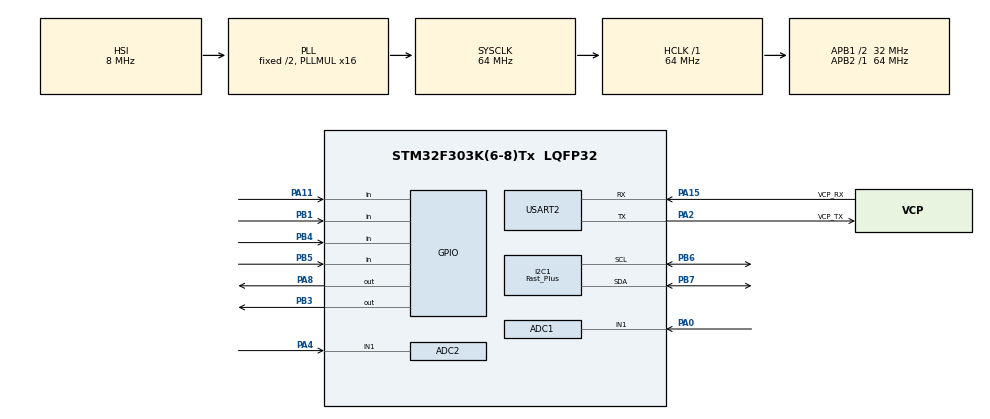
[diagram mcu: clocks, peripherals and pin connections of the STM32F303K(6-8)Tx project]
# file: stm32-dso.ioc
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ADC1.Channel-0\#ChannelRegularConversion=ADC_CHANNEL_1
ADC1.ClockPrescaler=ADC_CLOCK_SYNC_PCLK_DIV2
ADC1.ContinuousConvMode=ENABLE
ADC1.DMAContinuousRequests=ENABLE
ADC1.NbrOfConversionFlag=1
ADC1.Offset-0\#ChannelRegularConversion=0
ADC1.OffsetNumber-0\#ChannelRegularConversion=ADC_OFFSET_NONE
ADC1.Rank-0\#ChannelRegularConversion=1
ADC1.Resolution=ADC_RESOLUTION_12B
ADC1.SamplingTime-0\#ChannelRegularConversion=ADC_SAMPLETIME_1CYCLE_5
ADC1.SubFamily=STM32F303x8
ADC1.master=1
ADC2.Channel-0\#ChannelRegularConversion=ADC_CHANNEL_1
ADC2.ClockPrescaler=ADC_CLOCK_SYNC_PCLK_DIV2
ADC2.ContinuousConvMode=ENABLE
ADC2.NbrOfConversionFlag=1
ADC2.Offset-0\#ChannelRegularConversion=0
ADC2.OffsetNumber-0\#ChannelRegularConversion=ADC_OFFSET_NONE
ADC2.Rank-0\#ChannelRegularConversion=1
ADC2.SamplingTime-0\#ChannelRegularConversion=ADC_SAMPLETIME_1CYCLE_5
ADC2.SamplingTimeOPAMP-0\#ChannelRegularConversion=ADC_SAMPLETIME_61CYCLES_5
ADC2.SubFamily=STM32F303x8
Dma.ADC1.0.Direction=DMA_PERIPH_TO_MEMORY
Dma.ADC1.0.Instance=DMA1_Channel1
Dma.ADC1.0.MemDataAlignment=DMA_MDATAALIGN_HALFWORD
Dma.ADC1.0.MemInc=DMA_MINC_ENABLE
Dma.ADC1.0.Mode=DMA_CIRCULAR
Dma.ADC1.0.PeriphDataAlignment=DMA_PDATAALIGN_HALFWORD
Dma.ADC1.0.PeriphInc=DMA_PINC_DISABLE
Dma.ADC1.0.Priority=DMA_PRIORITY_LOW
Dma.Request0=ADC1
I2C1.I2C_Fall_Time=100
I2C1.I2C_Rise_Time=100
I2C1.I2C_Speed_Mode=I2C_Fast_Plus
I2C1.Speed=100
I2C1.Timing=0x0091FFFF
Mcu.Family=STM32F3
Mcu.Name=STM32F303K(6-8)Tx
Mcu.Package=LQFP32
NVIC.DMA1_Channel1_IRQn=true\:0\:0\:false\:false\:true\:false\:true\:true
NVIC.PriorityGroup=NVIC_PRIORITYGROUP_4
PA0.Mode=IN1-Single-Ended
PA0.Signal=ADC1_IN1
PA11.Signal=GPIO_Input
PA13.GPIO_Label=SWDIO
PA13.Mode=Serial_Wire
PA13.Signal=SYS_JTMS-SWDIO
PA14.GPIO_Label=SWCLK
PA14.Mode=Serial_Wire
PA14.Signal=SYS_JTCK-SWCLK
PA15.GPIO_Label=VCP_RX
PA15.Mode=Asynchronous
PA15.Signal=USART2_RX
PA2.GPIO_Label=VCP_TX
PA2.Mode=Asynchronous
PA2.Signal=USART2_TX
PA4.Mode=IN1-Single-Ended
PA4.Signal=ADC2_IN1
PA8.Signal=GPIO_Output
PB1.Signal=GPIO_Input
PB3.Signal=GPIO_Output
PB4.GPIO_PuPd=GPIO_NOPULL
PB4.Signal=GPIO_Input
PB5.GPIO_PuPd=GPIO_NOPULL
PB5.Signal=GPIO_Input
PB6.GPIO_Pu=GPIO_PULLUP
PB6.Mode=I2C
PB6.Signal=I2C1_SCL
PB7.GPIO_Pu=GPIO_PULLUP
PB7.Mode=I2C
PB7.Signal=I2C1_SDA
PF0\ /\ OSC_IN.GPIO_Label=MCO
PF0\ /\ OSC_IN.Mode=HSE-External-Clock-Source
PF0\ /\ OSC_IN.Signal=RCC_OSC_IN
ProjectManager.HeapSize=0x200
ProjectManager.StackSize=0x400
ProjectManager.TargetToolchain=CMake
RCC.AHBFreq_Value=64000000
RCC.APB1CLKDivider=RCC_HCLK_DIV2
RCC.APB1Freq_Value=32000000
RCC.APB1TimFreq_Value=64000000
RCC.APB2Freq_Value=64000000
RCC.APB2TimFreq_Value=64000000
RCC.CortexFreq_Value=64000000
RCC.DATA_CACHE_ENABLE=1
RCC.HCLKFreq_Value=64000000
RCC.HSE_VALUE=8000000
RCC.HSI_VALUE=8000000
RCC.I2c1ClockSelection=RCC_I2C1CLKSOURCE_SYSCLK
RCC.INSTRUCTION_CACHE_ENABLE=1
RCC.MSICalibrationValue=0
RCC.PLLMUL=RCC_PLL_MUL16
RCC.PWR_Regulator_Voltage_Scale=PWR_REGULATOR_VOLTAGE_SCALE1
RCC.SYSCLKFreq_VALUE=64000000
RCC.SYSCLKSourceVirtual=RCC_SYSCLKSOURCE_PLLCLK
USART2.VirtualMode-Asynchronous=VM_ASYNC
board=NUCLEO-F303K8

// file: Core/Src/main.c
/* USER CODE BEGIN Header */
/**
  ******************************************************************************
  * @file           : main.c
  * @brief          : Main program body
  ******************************************************************************
  * @attention
  *
  * Copyright (c) 2025 STMicroelectronics.
  * All rights reserved.
  *
  * This software is licensed under terms that can be found in the LICENSE file
  * in the root directory of this software component.
  * If no LICENSE file comes with this software, it is provided AS-IS.
  *
  ******************************************************************************
  */
/* USER CODE END Header */
#include "main.h"

/* USER CODE BEGIN Includes */
#include "ssd1306.h"
#include "ssd1306_fonts.h"
#include "math.h"
#include <stdio.h>
/* USER CODE END Includes */

/* USER CODE BEGIN PD */
#define GRAPH_HISTORY 4096
/* USER CODE END PD */

ADC_HandleTypeDef hadc1;
ADC_HandleTypeDef hadc2;
DMA_HandleTypeDef hdma_adc1;

I2C_HandleTypeDef hi2c1;

UART_HandleTypeDef huart2;

/* USER CODE BEGIN PV */
uint16_t adc_buffer[GRAPH_HISTORY] = {0};
uint16_t trigger_level = 2048;
volatile uint8_t adc_half_complete = 0;
volatile uint8_t adc_full_complete = 0;
uint8_t running = 1;
uint8_t trigger_mode = 0;
uint8_t triggered = 0;
/* USER CODE END PV */

void SystemClock_Config(void);
static void MX_GPIO_Init(void);
static void MX_DMA_Init(void);
static void MX_USART2_UART_Init(void);
static void MX_I2C1_Init(void);
static void MX_ADC1_Init(void);
static void MX_ADC2_Init(void);

int main(void)
{

  /* MCU Configuration--------------------------------------------------------*/

  /* Reset of all peripherals, Initializes the Flash interface and the Systick. */
  HAL_Init();

  /* Configure the system clock */
  SystemClock_Config();

  /* Initialize all configured peripherals */
  MX_GPIO_Init();
  MX_DMA_Init();
  MX_USART2_UART_Init();
  MX_I2C1_Init();
  MX_ADC1_Init();
  MX_ADC2_Init();
  /* USER CODE BEGIN 2 */
  HAL_ADC_Start_DMA(&hadc1, (uint32_t*)adc_buffer, GRAPH_HISTORY);
  // HAL_OPAMP_Start(&hopamp2);
  HAL_GPIO_WritePin(GPIOB, GPIO_PIN_3, GPIO_PIN_SET);
  ssd1306_Init();
  HAL_Delay(2000);

  char buffer[32]; //character buffer
  uint8_t measure_mode = 0; // 0 vpp, 1 vmax, 2 freq
  /* USER CODE END 2 */

  /* Infinite loop */
  while (1)
  {

    /* USER CODE BEGIN 3 */

    if (HAL_GPIO_ReadPin(GPIOB, GPIO_PIN_4) == GPIO_PIN_RESET) {
      if (running) {
        HAL_ADC_Stop_DMA(&hadc1);
        HAL_GPIO_WritePin(GPIOB, GPIO_PIN_3, GPIO_PIN_RESET);
        running = 0;
        trigger_mode = 0;
      }
    }
    if (HAL_GPIO_ReadPin(GPIOB, GPIO_PIN_5) == GPIO_PIN_RESET) {
      if (!running) {
        HAL_ADC_Start_DMA(&hadc1, (uint32_t*)adc_buffer, GRAPH_HISTORY);
        HAL_GPIO_WritePin(GPIOB, GPIO_PIN_3, GPIO_PIN_SET);
        running = 1;
      }
    }

    if (HAL_GPIO_ReadPin(GPIOA, GPIO_PIN_11) == GPIO_PIN_RESET) {
      trigger_mode = 1;
      triggered = 0;
      if (!running) {
        HAL_ADC_Start_DMA(&hadc1, (uint32_t*)adc_buffer, GRAPH_HISTORY);
        HAL_GPIO_WritePin(GPIOB, GPIO_PIN_3, GPIO_PIN_SET);
      }
    }

    if (HAL_GPIO_ReadPin(GPIOB, GPIO_PIN_1) == GPIO_PIN_RESET) {
      measure_mode = (measure_mode + 1) % 3;
    }

    if (trigger_mode == 1&& !triggered) {
      HAL_GPIO_WritePin(GPIOA, GPIO_PIN_8, GPIO_PIN_SET);
    } else {
      HAL_GPIO_WritePin(GPIOA, GPIO_PIN_8, GPIO_PIN_RESET);
    }

    // read from adc2 for trigger level
    HAL_ADC_Start(&hadc2);
    if (HAL_ADC_PollForConversion(&hadc2, 1) == HAL_OK) {
      trigger_level = HAL_ADC_GetValue(&hadc2);
    }
    HAL_ADC_Stop(&hadc2);

    // draw grid
    ssd1306_Fill(Black);

    ssd1306_Line(0, 32, 127, 32, White);
    ssd1306_Line(0, 0, 0, 63, White);

    // vertical tick marks
    for (int x = 16; x < 128; x += 16) {
      ssd1306_Line(x, 30, x, 34, White);
    }
    // horizontal tick marks
    for (int y = 16; y < 64; y += 16) {
      ssd1306_Line(0, y, 4, y, White);
    }

    // trig line
    uint8_t trig_y = 63 - (trigger_level * 63 / 4095);
    for (int i = 0; i < 128; i += 8) {
      ssd1306_Line(i, trig_y, i + 4, trig_y, White);
    }

    // DMA complete
    if (running && (adc_full_complete || adc_half_complete)) {
      if (running) {
        adc_full_complete = 0;
        adc_half_complete = 0;
      }
      // find trigger
      int trigger_index = -1;
      for (int i = 1; i < GRAPH_HISTORY; i++) {
        if (adc_buffer[i-1] < trigger_level && adc_buffer[i] >= trigger_level) {
          trigger_index = i;
          break;
        }
      }

      if (trigger_mode == 1 && trigger_index >= 0 && !triggered) {
        triggered = 1;
        HAL_ADC_Stop_DMA(&hadc1);
        HAL_GPIO_WritePin(GPIOB, GPIO_PIN_3, GPIO_PIN_RESET);
        running = 0;
      }

      int start_idx = (trigger_index >= 0) ? trigger_index : 0;

      SSD1306_VERTEX waveform[128];
      for (int x = 0; x < 128; x++) {
        uint32_t sum = 0;
        // average 32 consecutive samples for each pixel
        // for (int i = 0; i < 32; i++) {
        //     sum += adc_buffer[x * 32 + i];
        // }

        for (int i = 0; i < 32; i++) {
          int idx = start_idx + x * 32 + i;
          if (idx < GRAPH_HISTORY) {
            sum += adc_buffer[idx];
          }
        }
        uint16_t adc_val = sum / 32;
        uint8_t y = 63 - (adc_val * 63 / 4095);
        waveform[x].x = x;
        waveform[x].y = y;
      }

      ssd1306_Polyline(waveform, 128, White);

      // min max
      uint16_t min_val = 4095, max_val = 0;
      for (int i = 0; i < GRAPH_HISTORY; i++) {
        if (adc_buffer[i] < min_val) min_val = adc_buffer[i];
        if (adc_buffer[i] > max_val) max_val = adc_buffer[i];
      }

      // assume 3.3V reference
      float v_min = (min_val * 3.3f) / 4095.0f;
      float v_max = (max_val * 3.3f) / 4095.0f;
      // float v_pp = v_max - v_min;
      // with 10:1 attenutation + 3.3V offset
      float v_min_at = (v_min - 3.3f) * 10.0f;
      float v_max_at = (v_max - 3.3f) * 10.0f;
      float v_pp = v_max_at - v_min_at;

      // float trig = (trigger_level * 3.3f) / 4095.0f;
      float trig_adc = (trigger_level * 3.3f) / 4095.0f;
      float trig = (trig_adc / 3.3f) * 56.0f - 28.0f;

      int16_t v_pp_int = (int16_t)v_pp;
      int16_t v_pp_dec = (int16_t)((v_pp - v_pp_int) * 100);

      int16_t v_max_int = (int16_t)v_max_at;
      int16_t v_max_dec = (int16_t)((v_max_at - v_max_int) * 100);

      int16_t v_min_int = (int16_t)v_min_at;
      int16_t v_min_dec = (int16_t)((v_min_at - v_min_int) * 100);

      int16_t trig_int = (int16_t)trig;
      int16_t trig_dec = (int16_t)((trig - trig_int) * 100);

      if (v_pp < 0) {
        v_pp_dec = (uint16_t)(fabsf(v_pp - v_pp_int) * 100);
      }

      if (trig < 0) {
        trig_dec = (uint16_t)(fabsf(trig - trig_int) * 100);
      }

      if (v_max_int < 0) {
        v_max_dec = (uint16_t)(fabsf(v_max_at - v_max_int) * 100);
      }

      if (v_min_int < 0 ) {
        v_min_dec = (uint16_t)(fabsf(v_min_at - v_min_int) * 100);
      }
      switch(measure_mode) {
        case 0:
          // Vpp
          sprintf(buffer, "Vpp:%d.%02dV", v_pp_int, v_pp_dec);
          break;
        case 1:
          // Vmax
          sprintf(buffer, "Max:%d.%02dV", v_max_int, v_max_dec);
          break;
        case 2:
          sprintf(buffer, "Min:%d.%02dV", v_min_int, v_min_dec);
          break;
      }
      // sprintf(buffer, "Vpp:%d.%dV", v_pp_int, v_pp_dec);
      ssd1306_SetCursor(3, 3);
      ssd1306_WriteString(buffer, Font_6x8, White);

      // sprintf(buffer, "Max:%d.%dV", v_max_int, v_max_dec);

      sprintf(buffer, "Trg:%d.%dV", trig_int, trig_dec);
      ssd1306_SetCursor(70, 3);
      ssd1306_WriteString(buffer, Font_6x8, White);

      ssd1306_UpdateScreen();
    }

    HAL_Delay(20);
  }
  /* USER CODE END 3 */
}

void SystemClock_Config(void)
{
  RCC_OscInitTypeDef RCC_OscInitStruct = {0};
  RCC_ClkInitTypeDef RCC_ClkInitStruct = {0};
  RCC_PeriphCLKInitTypeDef PeriphClkInit = {0};

  /** Initializes the RCC Oscillators according to the specified parameters
  * in the RCC_OscInitTypeDef structure.
  */
  RCC_OscInitStruct.OscillatorType = RCC_OSCILLATORTYPE_HSI;
  RCC_OscInitStruct.HSIState = RCC_HSI_ON;
  RCC_OscInitStruct.HSICalibrationValue = RCC_HSICALIBRATION_DEFAULT;
  RCC_OscInitStruct.PLL.PLLState = RCC_PLL_ON;
  RCC_OscInitStruct.PLL.PLLSource = RCC_PLLSOURCE_HSI;
  RCC_OscInitStruct.PLL.PLLMUL = RCC_PLL_MUL16;
  if (HAL_RCC_OscConfig(&RCC_OscInitStruct) != HAL_OK)
  {
    Error_Handler();
  }

  /** Initializes the CPU, AHB and APB buses clocks
  */
  RCC_ClkInitStruct.ClockType = RCC_CLOCKTYPE_HCLK|RCC_CLOCKTYPE_SYSCLK
                              |RCC_CLOCKTYPE_PCLK1|RCC_CLOCKTYPE_PCLK2;
  RCC_ClkInitStruct.SYSCLKSource = RCC_SYSCLKSOURCE_PLLCLK;
  RCC_ClkInitStruct.AHBCLKDivider = RCC_SYSCLK_DIV1;
  RCC_ClkInitStruct.APB1CLKDivider = RCC_HCLK_DIV2;
  RCC_ClkInitStruct.APB2CLKDivider = RCC_HCLK_DIV1;

  if (HAL_RCC_ClockConfig(&RCC_ClkInitStruct, FLASH_LATENCY_2) != HAL_OK)
  {
    Error_Handler();
  }
  PeriphClkInit.PeriphClockSelection = RCC_PERIPHCLK_I2C1;
  PeriphClkInit.I2c1ClockSelection = RCC_I2C1CLKSOURCE_SYSCLK;
  if (HAL_RCCEx_PeriphCLKConfig(&PeriphClkInit) != HAL_OK)
  {
    Error_Handler();
  }
}

static void MX_ADC1_Init(void)
{

  ADC_MultiModeTypeDef multimode = {0};
  ADC_ChannelConfTypeDef sConfig = {0};

  /** Common config
  */
  hadc1.Instance = ADC1;
  hadc1.Init.ClockPrescaler = ADC_CLOCK_SYNC_PCLK_DIV2;
  hadc1.Init.Resolution = ADC_RESOLUTION_12B;
  hadc1.Init.ScanConvMode = ADC_SCAN_DISABLE;
  hadc1.Init.ContinuousConvMode = ENABLE;
  hadc1.Init.DiscontinuousConvMode = DISABLE;
  hadc1.Init.ExternalTrigConvEdge = ADC_EXTERNALTRIGCONVEDGE_NONE;
  hadc1.Init.ExternalTrigConv = ADC_SOFTWARE_START;
  hadc1.Init.DataAlign = ADC_DATAALIGN_RIGHT;
  hadc1.Init.NbrOfConversion = 1;
  hadc1.Init.DMAContinuousRequests = ENABLE;
  hadc1.Init.EOCSelection = ADC_EOC_SINGLE_CONV;
  hadc1.Init.LowPowerAutoWait = DISABLE;
  hadc1.Init.Overrun = ADC_OVR_DATA_OVERWRITTEN;
  if (HAL_ADC_Init(&hadc1) != HAL_OK)
  {
    Error_Handler();
  }

  /** Configure the ADC multi-mode
  */
  multimode.Mode = ADC_MODE_INDEPENDENT;
  if (HAL_ADCEx_MultiModeConfigChannel(&hadc1, &multimode) != HAL_OK)
  {
    Error_Handler();
  }

  /** Configure Regular Channel
  */
  sConfig.Channel = ADC_CHANNEL_1;
  sConfig.Rank = ADC_REGULAR_RANK_1;
  sConfig.SingleDiff = ADC_SINGLE_ENDED;
  sConfig.SamplingTime = ADC_SAMPLETIME_1CYCLE_5;
  sConfig.OffsetNumber = ADC_OFFSET_NONE;
  sConfig.Offset = 0;
  if (HAL_ADC_ConfigChannel(&hadc1, &sConfig) != HAL_OK)
  {
    Error_Handler();
  }

}

static void MX_ADC2_Init(void)
{

  ADC_ChannelConfTypeDef sConfig = {0};

  /** Common config
  */
  hadc2.Instance = ADC2;
  hadc2.Init.ClockPrescaler = ADC_CLOCK_SYNC_PCLK_DIV2;
  hadc2.Init.Resolution = ADC_RESOLUTION_12B;
  hadc2.Init.ScanConvMode = ADC_SCAN_DISABLE;
  hadc2.Init.ContinuousConvMode = ENABLE;
  hadc2.Init.DiscontinuousConvMode = DISABLE;
  hadc2.Init.ExternalTrigConvEdge = ADC_EXTERNALTRIGCONVEDGE_NONE;
  hadc2.Init.ExternalTrigConv = ADC_SOFTWARE_START;
  hadc2.Init.DataAlign = ADC_DATAALIGN_RIGHT;
  hadc2.Init.NbrOfConversion = 1;
  hadc2.Init.DMAContinuousRequests = DISABLE;
  hadc2.Init.EOCSelection = ADC_EOC_SINGLE_CONV;
  hadc2.Init.LowPowerAutoWait = DISABLE;
  hadc2.Init.Overrun = ADC_OVR_DATA_OVERWRITTEN;
  if (HAL_ADC_Init(&hadc2) != HAL_OK)
  {
    Error_Handler();
  }

  /** Configure Regular Channel
  */
  sConfig.Channel = ADC_CHANNEL_1;
  sConfig.Rank = ADC_REGULAR_RANK_1;
  sConfig.SingleDiff = ADC_SINGLE_ENDED;
  sConfig.SamplingTime = ADC_SAMPLETIME_1CYCLE_5;
  sConfig.OffsetNumber = ADC_OFFSET_NONE;
  sConfig.Offset = 0;
  if (HAL_ADC_ConfigChannel(&hadc2, &sConfig) != HAL_OK)
  {
    Error_Handler();
  }

}

static void MX_I2C1_Init(void)
{

  hi2c1.Instance = I2C1;
  hi2c1.Init.Timing = 0x0091FFFF;
  hi2c1.Init.OwnAddress1 = 0;
  hi2c1.Init.AddressingMode = I2C_ADDRESSINGMODE_7BIT;
  hi2c1.Init.DualAddressMode = I2C_DUALADDRESS_DISABLE;
  hi2c1.Init.OwnAddress2 = 0;
  hi2c1.Init.OwnAddress2Masks = I2C_OA2_NOMASK;
  hi2c1.Init.GeneralCallMode = I2C_GENERALCALL_DISABLE;
  hi2c1.Init.NoStretchMode = I2C_NOSTRETCH_DISABLE;
  if (HAL_I2C_Init(&hi2c1) != HAL_OK)
  {
    Error_Handler();
  }

  /** Configure Analogue filter
  */
  if (HAL_I2CEx_ConfigAnalogFilter(&hi2c1, I2C_ANALOGFILTER_ENABLE) != HAL_OK)
  {
    Error_Handler();
  }

  /** Configure Digital filter
  */
  if (HAL_I2CEx_ConfigDigitalFilter(&hi2c1, 0) != HAL_OK)
  {
    Error_Handler();
  }

  /** I2C Fast mode Plus enable
  */
  __HAL_SYSCFG_FASTMODEPLUS_ENABLE(I2C_FASTMODEPLUS_I2C1);

}

static void MX_USART2_UART_Init(void)
{

  huart2.Instance = USART2;
  huart2.Init.BaudRate = 38400;
  huart2.Init.WordLength = UART_WORDLENGTH_8B;
  huart2.Init.StopBits = UART_STOPBITS_1;
  huart2.Init.Parity = UART_PARITY_NONE;
  huart2.Init.Mode = UART_MODE_TX_RX;
  huart2.Init.HwFlowCtl = UART_HWCONTROL_NONE;
  huart2.Init.OverSampling = UART_OVERSAMPLING_16;
  huart2.Init.OneBitSampling = UART_ONE_BIT_SAMPLE_DISABLE;
  huart2.AdvancedInit.AdvFeatureInit = UART_ADVFEATURE_NO_INIT;
  if (HAL_UART_Init(&huart2) != HAL_OK)
  {
    Error_Handler();
  }

}

static void MX_DMA_Init(void)
{

  /* DMA controller clock enable */
  __HAL_RCC_DMA1_CLK_ENABLE();

  /* DMA interrupt init */
  /* DMA1_Channel1_IRQn interrupt configuration */
  HAL_NVIC_SetPriority(DMA1_Channel1_IRQn, 0, 0);
  HAL_NVIC_EnableIRQ(DMA1_Channel1_IRQn);

}

static void MX_GPIO_Init(void)
{
  GPIO_InitTypeDef GPIO_InitStruct = {0};

  /* GPIO Ports Clock Enable */
  __HAL_RCC_GPIOF_CLK_ENABLE();
  __HAL_RCC_GPIOA_CLK_ENABLE();
  __HAL_RCC_GPIOB_CLK_ENABLE();

  /*Configure GPIO pin Output Level */
  HAL_GPIO_WritePin(GPIOA, GPIO_PIN_8, GPIO_PIN_RESET);

  /*Configure GPIO pin Output Level */
  HAL_GPIO_WritePin(GPIOB, GPIO_PIN_3, GPIO_PIN_RESET);

  /*Configure GPIO pins : PB1 PB4 PB5 */
  GPIO_InitStruct.Pin = GPIO_PIN_1|GPIO_PIN_4|GPIO_PIN_5;
  GPIO_InitStruct.Mode = GPIO_MODE_INPUT;
  GPIO_InitStruct.Pull = GPIO_NOPULL;
  HAL_GPIO_Init(GPIOB, &GPIO_InitStruct);

  /*Configure GPIO pin : PA8 */
  GPIO_InitStruct.Pin = GPIO_PIN_8;
  GPIO_InitStruct.Mode = GPIO_MODE_OUTPUT_PP;
  GPIO_InitStruct.Pull = GPIO_NOPULL;
  GPIO_InitStruct.Speed = GPIO_SPEED_FREQ_LOW;
  HAL_GPIO_Init(GPIOA, &GPIO_InitStruct);

  /*Configure GPIO pin : PA11 */
  GPIO_InitStruct.Pin = GPIO_PIN_11;
  GPIO_InitStruct.Mode = GPIO_MODE_INPUT;
  GPIO_InitStruct.Pull = GPIO_NOPULL;
  HAL_GPIO_Init(GPIOA, &GPIO_InitStruct);

  /*Configure GPIO pin : PB3 */
  GPIO_InitStruct.Pin = GPIO_PIN_3;
  GPIO_InitStruct.Mode = GPIO_MODE_OUTPUT_PP;
  GPIO_InitStruct.Pull = GPIO_NOPULL;
  GPIO_InitStruct.Speed = GPIO_SPEED_FREQ_LOW;
  HAL_GPIO_Init(GPIOB, &GPIO_InitStruct);

}

/* USER CODE BEGIN 4 */
void HAL_ADC_ConvHalfCpltCallback(ADC_HandleTypeDef* hadc)
{
  adc_half_complete = 1;
}

void HAL_ADC_ConvCpltCallback(ADC_HandleTypeDef* hadc)
{
  adc_full_complete = 1;
}
/* USER CODE END 4 */

void Error_Handler(void)
{
  __disable_irq();
  while (1)
  {
  }
}
